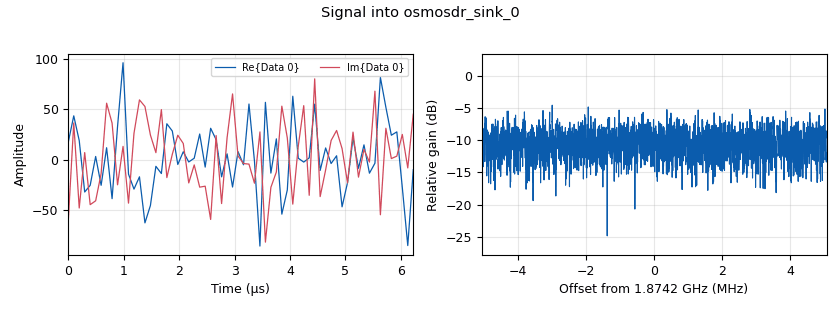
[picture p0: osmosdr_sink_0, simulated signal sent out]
options:
  parameters:
    category: Custom
    generate_options: qt_gui
    id: jammer_gen
    output_language: python
  states: {}

blocks:
- name: bandwidth
  id: variable_qtgui_range
  parameters:
    label: Bandwidth
    start: 2e6
    step: '10'
    stop: 50e6
    value: var_bandwidth
  states: {}
- name: bb_gain
  id: variable_qtgui_range
  parameters:
    label: BB gain
    start: '10'
    step: '10'
    stop: '60'
    value: var_bb_gain
  states: {}
- name: cent_freq
  id: variable_qtgui_range
  parameters:
    label: Freq
    start: 900e6
    step: '500'
    stop: 2700e6
    value: var_cent_freq
  states: {}
- name: if_gain
  id: variable_qtgui_range
  parameters:
    label: IF gain
    start: '10'
    step: '10'
    stop: '60'
    value: var_if_gain
  states: {}
- name: rf_gain
  id: variable_qtgui_range
  parameters:
    label: RF gain
    start: '10'
    step: '10'
    stop: '60'
    value: var_rf_gain
  states: {}
- name: samp_rate
  id: variable
  parameters:
    value: 5e6
  states: {}
- name: var_bandwidth
  id: variable
  parameters:
    value: 10e6
  states: {}
- name: var_bb_gain
  id: variable
  parameters:
    value: '10'
  states: {}
- name: var_cent_freq
  id: variable
  parameters:
    value: '1874200000'
  states: {}
- name: var_if_gain
  id: variable
  parameters:
    value: '10'
  states: {}
- name: var_rf_gain
  id: variable
  parameters:
    value: '10'
  states: {}
- name: analog_noise_source_x_0
  id: analog_noise_source_x
  parameters:
    amp: '50'
    noise_type: analog.GR_GAUSSIAN
    seed: '0'
    type: complex
  states: {}
- name: osmosdr_sink_0
  id: osmosdr_sink
  parameters:
    args: bladerf=0
    bb_gain0: bb_gain
    bw0: bandwidth
    freq0: cent_freq
    gain0: rf_gain
    if_gain0: if_gain
    sample_rate: bandwidth+bandwidth/80
    sync: sync
    type: fc32
  states: {}
- name: xmlrpc_server_0
  id: xmlrpc_server
  parameters:
    addr: localhost
    port: '8888'
  states: {}

connections:
- [analog_noise_source_x_0, '0', osmosdr_sink_0, '0']

metadata:
  file_format: 1
  grc_version: 3.10.5.1
